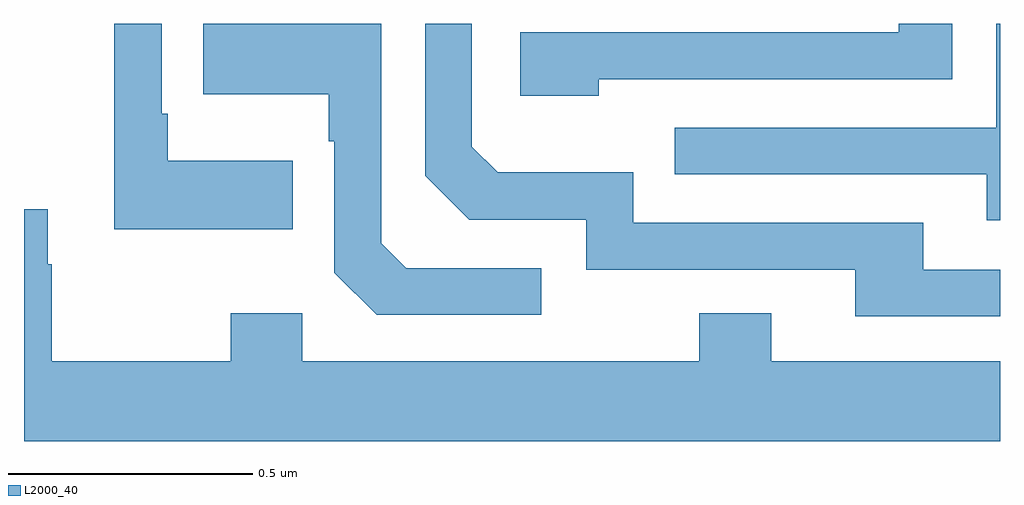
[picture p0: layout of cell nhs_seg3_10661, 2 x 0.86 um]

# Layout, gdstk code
import gdstk
lib = gdstk.Library(unit=1e-6, precision=1e-09)
def P(c, l, *ps):  # polygons
    for p in ps: c.add(gdstk.Polygon(p, *l))
L2000_40 = (2000, 40)

nhs_seg3_10661 = lib.new_cell('nhs_seg3_10661')
P(nhs_seg3_10661, L2000_40, [(243.551,740.119),(243.295,740.119),(243.295,740.215),(243.282,740.215),(243.282,740.4),(243.185,740.4),(243.185,739.979),(243.551,739.979)],
  [(245,740.4),(244.992,740.4),(244.992,740.187),(244.333,740.187),(244.333,740.091),(244.973,740.091),(244.973,739.997),(245,739.997)],
  [(244.178,740.286),(244.902,740.286),(244.902,740.4),(244.793,740.4),(244.793,740.382),(244.017,740.382),(244.017,740.252),(244.178,740.252)],
  [(244.06,739.899),(243.783,739.899),(243.732,739.95),(243.732,740.4),(243.367,740.4),(243.367,740.255),(243.624,740.255),(243.624,740.159),(243.636,740.159),(243.636,739.89),(243.723,739.803),(244.06,739.803)],
  [(245,739.896),(244.843,739.896),(244.843,739.992),(244.248,739.992),(244.248,740.095),(243.971,740.095),(243.918,740.148),(243.918,740.4),(243.822,740.4),(243.822,740.088),(243.912,739.998),(244.152,739.998),(244.152,739.896),(244.703,739.896),(244.703,739.8),(245,739.8)],
  [(244.384,739.807),(244.384,739.708),(243.57,739.708),(243.57,739.807),(243.424,739.807),(243.424,739.708),(243.057,739.708),(243.057,739.907),(243.049,739.907),(243.049,740.02),(243,740.02),(243,739.544),(245,739.544),(245,739.708),(244.531,739.708),(244.531,739.807)])

lib.write_gds('nhs_seg3_10661.gds')
